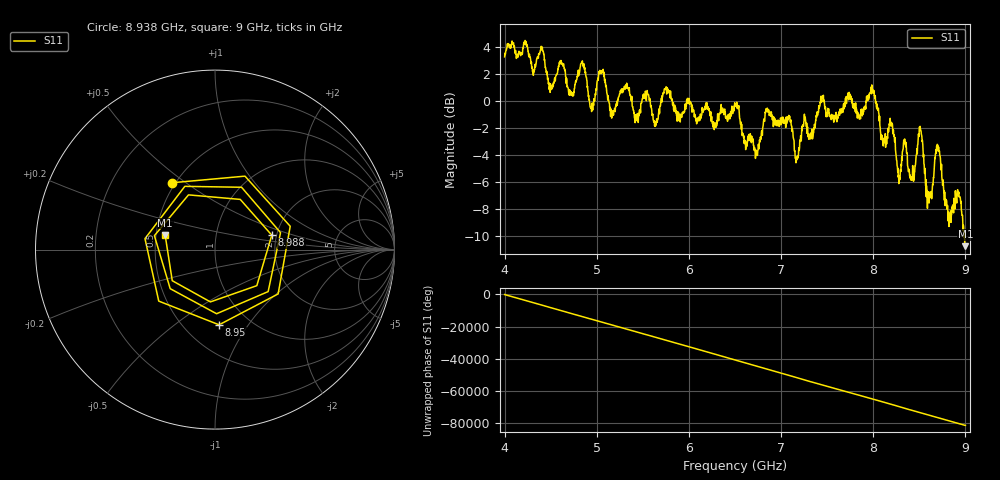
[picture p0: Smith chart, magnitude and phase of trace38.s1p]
! Created with skrf 1.8.0 (http://scikit-rf.org).
# Hz S RI R 50.0
!freq ReS11 ImS11
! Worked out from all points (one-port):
!   1601 points, 4 GHz to 9 GHz, reference 50 ohm
!   lowest |S11| = -10.8 dB at 9 GHz (marker M1), VSWR 1.82, Z = 27.9 + j5.02 ohm
!   |S11| at or under -10 dB: 8.983621 GHz to 8.984954 GHz (1.333 MHz wide, 0.0148 % of centre); 8.989609 GHz to end of sweep
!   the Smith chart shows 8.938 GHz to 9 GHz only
!   S11 on the Smith chart (normalised r, x): 8.938 GHz: 0.48, +0.45; 8.95 GHz: 0.73, -0.74; 8.988 GHz: 1.89, +0.34; 9 GHz: 0.56, +0.10
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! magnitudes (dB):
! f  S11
! 4 GHz  3.3
! 4.625 GHz  2.7
! 4.722 GHz  0.6
! 4.85 GHz  2.6
! 4.941 GHz  -0.5
! 5.047 GHz  2.2
! 5.162 GHz  -1.3
! 5.25 GHz  0.6
! 5.875 GHz  -1.4
! 6.5 GHz  -0.4
! 6.725 GHz  -4.0
! 6.853 GHz  -0.6
! 7.125 GHz  -2.2
! 7.175 GHz  -4.1
! 7.444 GHz  0.4
! 7.75 GHz  0.5
! 7.997 GHz  0.8
! 8.275 GHz  -5.5
! 8.375 GHz  -4.9
! 8.428 GHz  -4.8
! 8.512 GHz  -2.1
! 8.6 GHz  -6.7
! 8.7 GHz  -3.4
! 8.825 GHz  -8.4
! 8.938 GHz  -7.1
! 8.95 GHz  -7.5
! 8.988 GHz  -9.7
! 9 GHz  -10.8
